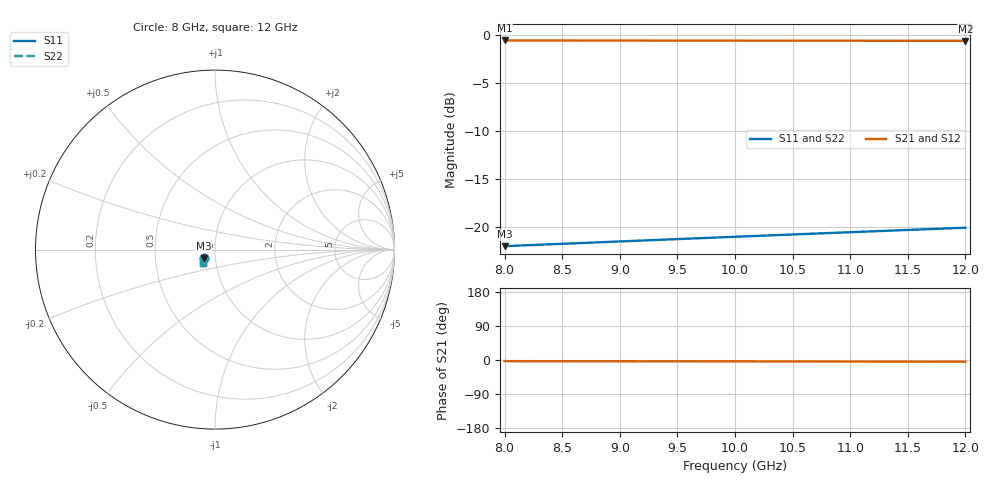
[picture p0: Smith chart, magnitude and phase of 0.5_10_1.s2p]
! Created Mon Oct 19 10:29:28 2020
# ghz S db R 50
! 2 Port Network Data from SP1.SP block
! freq  dbS11  angS11  dbS21  angS21  dbS12  angS12  dbS22  angS22
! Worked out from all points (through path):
!   9 points, 8 GHz to 12 GHz, reference 50 ohm
!   highest |S21| = -0.56 dB at 8 GHz (marker M1); lowest = -0.6 dB at 12 GHz (marker M2)
!   lowest |S11| = -21.9 dB at 8 GHz (marker M3), VSWR 1.17, Z = 43.9 - j4.31 ohm
!   |S11| at or under -10 dB: start of sweep to end of sweep
!   |S22| runs from -21.9 to -20.0 dB; largest |S21 - S12| = 0
8  -21.94 -142.3  -0.56 -3.0  -0.56 -3.0  -21.94 -142.3
8.5  -21.70 -141.0  -0.56 -3.2  -0.56 -3.2  -21.70 -141.0
9  -21.45 -139.7  -0.56 -3.3  -0.56 -3.3  -21.45 -139.7
9.5  -21.21 -138.5  -0.57 -3.5  -0.57 -3.5  -21.21 -138.5
10  -20.97 -137.5  -0.57 -3.7  -0.57 -3.7  -20.97 -137.5
10.5  -20.73 -136.4  -0.58 -3.9  -0.58 -3.9  -20.73 -136.4
11  -20.49 -135.5  -0.58 -4.1  -0.58 -4.1  -20.49 -135.5
11.5  -20.26 -134.6  -0.59 -4.2  -0.59 -4.2  -20.26 -134.6
12  -20.03 -133.8  -0.60 -4.4  -0.60 -4.4  -20.03 -133.8
